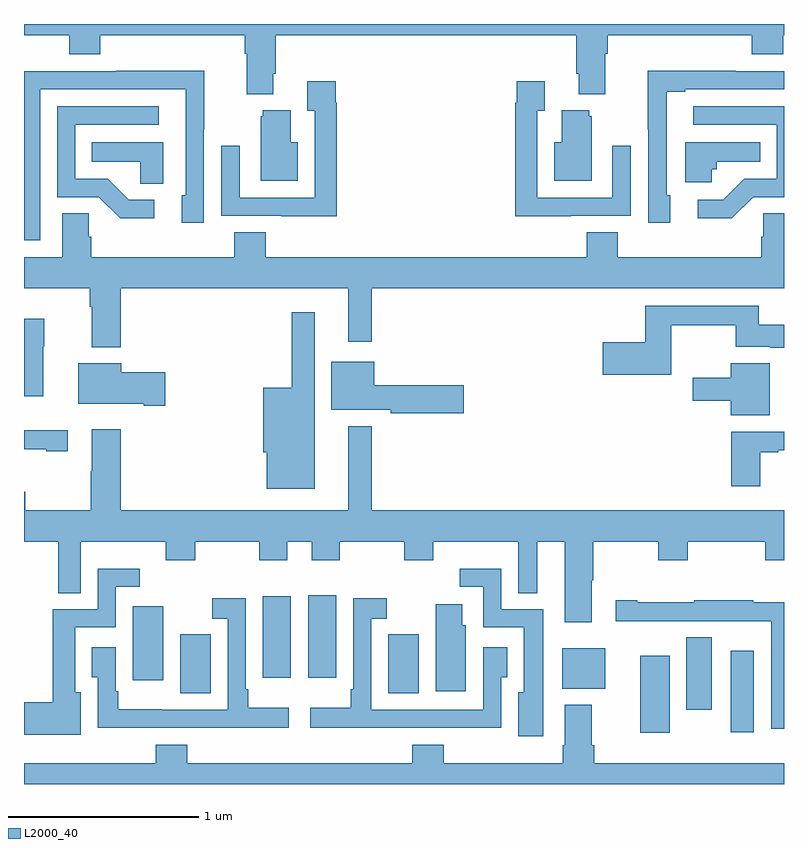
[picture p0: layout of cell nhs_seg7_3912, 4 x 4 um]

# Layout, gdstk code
import gdstk
lib = gdstk.Library(unit=1e-6, precision=1e-09)
def R(c, l, rs):  # rectangles x0, y0, x1, y1
    for r in rs: c.add(gdstk.rectangle(r[:2], r[2:], *l))
def P(c, l, *ps):  # polygons
    for p in ps: c.add(gdstk.Polygon(p, *l))
L2000_40 = (2000, 40)

nhs_seg7_3912 = lib.new_cell('nhs_seg7_3912')
R(nhs_seg7_3912, L2000_40, [(362.243,1006.269,362.398,1006.675), (362.72,1006.272,362.842,1006.702), (362.486,1006.392,362.62,1006.772), (359.822,1006.477,359.983,1006.788), (360.917,1006.477,361.078,1006.788), (361.832,1006.502,362.059,1006.714), (359.573,1006.547,359.734,1006.936), (360.257,1006.56,360.403,1006.987), (360.497,1006.56,360.643,1006.993)])
P(nhs_seg7_3912, L2000_40, [(359,1009.94),(359.237,1009.94),(359.237,1009.841),(359.402,1009.841),(359.402,1009.94),(360.161,1009.94),(360.161,1009.844),(360.173,1009.844),(360.173,1009.631),(360.313,1009.631),(360.313,1009.738),(360.326,1009.738),(360.326,1009.94),(361.907,1009.94),(361.907,1009.738),(361.919,1009.738),(361.919,1009.631),(362.059,1009.631),(362.059,1009.844),(362.072,1009.844),(362.072,1009.94),(362.831,1009.94),(362.831,1009.841),(362.996,1009.841),(362.996,1009.94),(363,1009.94),(363,1010),(359,1010)],
  [(362.401,1009.098),(362.382,1009.098),(362.382,1009.45),(362.383,1009.45),(362.383,1009.644),(362.479,1009.644),(362.479,1009.656),(363,1009.656),(363,1009.752),(362.747,1009.752),(362.747,1009.754),(362.284,1009.754),(362.284,1009.447),(362.286,1009.447),(362.286,1008.954),(362.401,1008.954)],
  [(359.085,1009.656),(359.85,1009.656),(359.85,1009.098),(359.831,1009.098),(359.831,1008.954),(359.946,1008.954),(359.946,1009.447),(359.949,1009.447),(359.949,1009.754),(359.485,1009.754),(359.485,1009.752),(359,1009.752),(359,1008.861),(359.085,1008.861)],
  [(361.877,1008.99),(362.193,1008.99),(362.193,1009.36),(362.097,1009.36),(362.097,1009.086),(361.701,1009.086),(361.701,1009.543),(361.741,1009.543),(361.741,1009.699),(361.593,1009.699),(361.593,1009.586),(361.585,1009.586),(361.585,1008.989),(361.877,1008.989)],
  [(360.647,1009.586),(360.64,1009.586),(360.64,1009.699),(360.491,1009.699),(360.491,1009.543),(360.531,1009.543),(360.531,1009.086),(360.135,1009.086),(360.135,1009.36),(360.039,1009.36),(360.039,1008.99),(360.355,1008.99),(360.355,1008.989),(360.647,1008.989)],
  [(359.686,1009.074),(359.551,1009.074),(359.44,1009.185),(359.271,1009.185),(359.271,1009.47),(359.71,1009.47),(359.71,1009.566),(359.175,1009.566),(359.175,1009.089),(359.394,1009.089),(359.507,1008.977),(359.686,1008.977)],
  [(362.838,1009.089),(363,1009.089),(363,1009.566),(362.523,1009.566),(362.523,1009.47),(362.961,1009.47),(362.961,1009.185),(362.792,1009.185),(362.681,1009.074),(362.547,1009.074),(362.547,1008.977),(362.725,1008.977)],
  [(360.442,1009.378),(360.403,1009.378),(360.403,1009.546),(360.257,1009.546),(360.257,1009.515),(360.245,1009.515),(360.245,1009.175),(360.442,1009.175)],
  [(361.987,1009.515),(361.976,1009.515),(361.976,1009.546),(361.829,1009.546),(361.829,1009.378),(361.79,1009.378),(361.79,1009.175),(361.987,1009.175)],
  [(359.734,1009.378),(359.356,1009.378),(359.356,1009.274),(359.613,1009.274),(359.613,1009.159),(359.734,1009.159)],
  [(362.619,1009.236),(362.646,1009.236),(362.646,1009.274),(362.876,1009.274),(362.876,1009.378),(362.48,1009.378),(362.48,1009.166),(362.619,1009.166)],
  [(359.51,1008.608),(360.707,1008.608),(360.707,1008.327),(360.829,1008.327),(360.829,1008.608),(363,1008.608),(363,1009.004),(362.892,1009.004),(362.892,1008.881),(362.879,1008.881),(362.879,1008.772),(362.126,1008.772),(362.126,1008.905),(361.961,1008.905),(361.961,1008.772),(360.272,1008.772),(360.272,1008.905),(360.107,1008.905),(360.107,1008.772),(359.354,1008.772),(359.354,1008.881),(359.34,1008.881),(359.34,1009.004),(359.201,1009.004),(359.201,1008.772),(359,1008.772),(359,1008.608),(359.345,1008.608),(359.345,1008.512),(359.357,1008.512),(359.357,1008.299),(359.51,1008.299)],
  [(362.406,1008.415),(362.745,1008.415),(362.745,1008.302),(362.928,1008.302),(362.928,1008.296),(363,1008.296),(363,1008.418),(362.866,1008.418),(362.866,1008.516),(362.269,1008.516),(362.269,1008.325),(362.046,1008.325),(362.046,1008.155),(362.406,1008.155)],
  [(360.529,1008.484),(360.408,1008.484),(360.408,1008.085),(360.26,1008.085),(360.26,1007.745),(360.278,1007.745),(360.278,1007.555),(360.529,1007.555)],
  [(359.101,1008.303),(359.107,1008.303),(359.107,1008.448),(359,1008.448),(359,1008.042),(359.101,1008.042)],
  [(361.315,1008.098),(360.844,1008.098),(360.844,1008.223),(360.617,1008.223),(360.617,1007.969),(360.93,1007.969),(360.93,1007.951),(361.315,1007.951)],
  [(359.743,1008.168),(359.512,1008.168),(359.512,1008.214),(359.285,1008.214),(359.285,1008.002),(359.63,1008.002),(359.63,1007.99),(359.743,1007.99)],
  [(362.926,1008.214),(362.72,1008.214),(362.72,1008.139),(362.52,1008.139),(362.52,1008.017),(362.72,1008.017),(362.72,1007.942),(362.926,1007.942)],
  [(359.51,1007.866),(359.357,1007.866),(359.357,1007.645),(359.35,1007.645),(359.35,1007.44),(359.007,1007.44),(359.007,1007.539),(359,1007.539),(359,1007.276),(359.181,1007.276),(359.181,1007.005),(359.299,1007.005),(359.299,1007.276),(359.746,1007.276),(359.746,1007.177),(359.901,1007.177),(359.901,1007.276),(360.238,1007.276),(360.238,1007.177),(360.385,1007.177),(360.385,1007.276),(360.515,1007.276),(360.515,1007.177),(360.663,1007.177),(360.663,1007.276),(361,1007.276),(361,1007.177),(361.155,1007.177),(361.155,1007.276),(361.601,1007.276),(361.601,1007.005),(361.702,1007.005),(361.702,1007.276),(361.847,1007.276),(361.847,1006.851),(361.987,1006.851),(361.987,1007.072),(361.995,1007.072),(361.995,1007.276),(362.338,1007.276),(362.338,1007.177),(362.493,1007.177),(362.493,1007.276),(362.902,1007.276),(362.902,1007.177),(363,1007.177),(363,1007.44),(360.829,1007.44),(360.829,1007.884),(360.707,1007.884),(360.707,1007.44),(359.51,1007.44)],
  [(359.23,1007.861),(359,1007.861),(359,1007.761),(359.117,1007.761),(359.117,1007.751),(359.23,1007.751)],
  [(362.875,1007.745),(362.971,1007.745),(362.971,1007.757),(363,1007.757),(363,1007.854),(362.723,1007.854),(362.723,1007.568),(362.875,1007.568)],
  [(361.732,1006.92),(361.512,1006.92),(361.512,1007.134),(361.293,1007.134),(361.293,1007.037),(361.416,1007.037),(361.416,1006.824),(361.631,1006.824),(361.631,1006.483),(361.601,1006.483),(361.601,1006.251),(361.732,1006.251)],
  [(359.299,1006.483),(359.269,1006.483),(359.269,1006.824),(359.484,1006.824),(359.484,1007.037),(359.608,1007.037),(359.608,1007.134),(359.388,1007.134),(359.388,1006.92),(359.151,1006.92),(359.151,1006.43),(359,1006.43),(359,1006.259),(359.299,1006.259)],
  [(359.609,1006.296),(359.975,1006.296),(359.975,1006.295),(360.394,1006.295),(360.394,1006.402),(360.181,1006.402),(360.181,1006.498),(360.168,1006.498),(360.168,1006.978),(359.991,1006.978),(359.991,1006.869),(360.072,1006.869),(360.072,1006.392),(359.726,1006.392),(359.726,1006.393),(359.497,1006.393),(359.497,1006.489),(359.484,1006.489),(359.484,1006.72),(359.357,1006.72),(359.357,1006.561),(359.388,1006.561),(359.388,1006.295),(359.609,1006.295)],
  [(360.925,1006.296),(361.291,1006.296),(361.291,1006.295),(361.512,1006.295),(361.512,1006.561),(361.543,1006.561),(361.543,1006.72),(361.416,1006.72),(361.416,1006.392),(360.828,1006.392),(360.828,1006.869),(360.91,1006.869),(360.91,1006.978),(360.732,1006.978),(360.732,1006.498),(360.72,1006.498),(360.72,1006.402),(360.507,1006.402),(360.507,1006.295),(360.925,1006.295)],
  [(363,1006.956),(362.837,1006.956),(362.837,1006.966),(362.527,1006.966),(362.527,1006.956),(362.227,1006.956),(362.227,1006.966),(362.115,1006.966),(362.115,1006.856),(362.39,1006.856),(362.39,1006.857),(362.724,1006.857),(362.724,1006.856),(362.934,1006.856),(362.934,1006.29),(363,1006.29)],
  [(361.324,1006.836),(361.306,1006.836),(361.306,1006.945),(361.166,1006.945),(361.166,1006.488),(361.324,1006.488)],
  [(363,1006.108),(362,1006.108),(362,1006.204),(361.987,1006.204),(361.987,1006.417),(361.847,1006.417),(361.847,1006.204),(361.835,1006.204),(361.835,1006.108),(361.208,1006.108),(361.208,1006.207),(361.043,1006.207),(361.043,1006.108),(359.858,1006.108),(359.858,1006.207),(359.693,1006.207),(359.693,1006.108),(359,1006.108),(359,1006),(363,1006)])

lib.write_gds('nhs_seg7_3912.gds')
